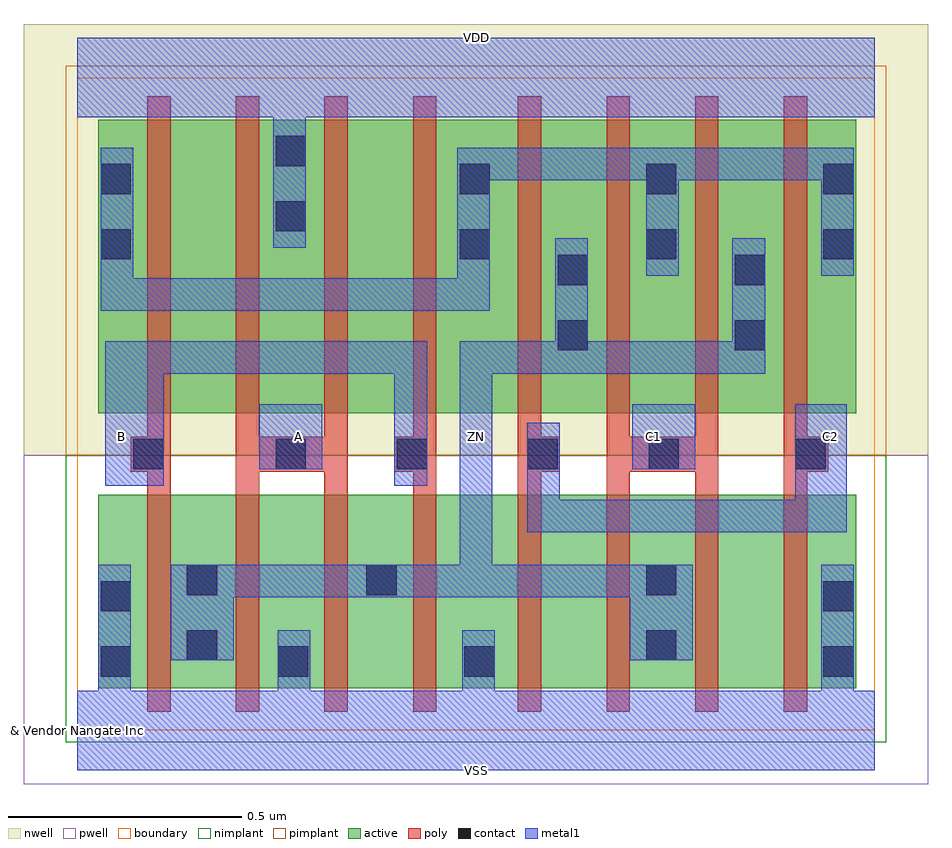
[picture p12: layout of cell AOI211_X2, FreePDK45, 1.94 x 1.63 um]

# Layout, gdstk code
import gdstk
lib = gdstk.Library(unit=1e-6, precision=1e-10)
def R(c, l, rs):  # rectangles x0, y0, x1, y1
    for r in rs: c.add(gdstk.rectangle(r[:2], r[2:], *l))
def P(c, l, *ps):  # polygons
    for p in ps: c.add(gdstk.Polygon(p, *l))
active = (1, 0)
pwell = (2, 0)
nwell = (3, 0)
nimplant = (4, 0)
pimplant = (5, 0)
poly = (9, 0)
contact = (10, 0)
metal1 = (11, 0)
boundary = (235, 0)

aoi211_x2 = lib.new_cell('AOI211_X2')
R(aoi211_x2, active, [(0.045,0.09,1.67,0.505), (0.045,0.68,1.67,1.31)])
R(aoi211_x2, pwell, [(-0.115,-0.115,1.825,0.59)])
R(aoi211_x2, nwell, [(-0.115,0.59,1.825,1.515)])
R(aoi211_x2, nimplant, [(-0.025,-0.025,1.735,0.59)])
R(aoi211_x2, pimplant, [(-0.025,0.59,1.735,1.425)])
P(aoi211_x2, poly, [(0.115,0.555),(0.15,0.555),(0.15,0.04),(0.2,0.04),(0.2,1.36),(0.15,1.36),(0.15,0.63),(0.115,0.63)],
  [(0.34,0.04),(0.39,0.04),(0.39,0.555),(0.53,0.555),(0.53,0.04),(0.58,0.04),(0.58,1.36),(0.53,1.36),(0.53,0.63),(0.39,0.63),(0.39,1.36),(0.34,1.36)],
  [(0.68,0.555),(0.72,0.555),(0.72,0.04),(0.77,0.04),(0.77,1.36),(0.72,1.36),(0.72,0.63),(0.68,0.63)],
  [(0.945,0.04),(0.995,0.04),(0.995,0.555),(1.035,0.555),(1.035,0.63),(0.995,0.63),(0.995,1.36),(0.945,1.36)],
  [(1.135,0.04),(1.185,0.04),(1.185,0.555),(1.325,0.555),(1.325,0.04),(1.375,0.04),(1.375,1.36),(1.325,1.36),(1.325,0.63),(1.185,0.63),(1.185,1.36),(1.135,1.36)],
  [(1.515,0.04),(1.565,0.04),(1.565,0.555),(1.61,0.555),(1.61,0.63),(1.565,0.63),(1.565,1.36),(1.515,1.36)])
R(aoi211_x2, contact, [(0.05,0.115,0.115,0.18), (0.43,0.115,0.495,0.18), (0.83,0.115,0.895,0.18), (1.6,0.115,1.665,0.18), (0.235,0.15,0.3,0.215), (1.22,0.15,1.285,0.215), (0.05,0.255,0.115,0.32), (1.6,0.255,1.665,0.32), (0.235,0.29,0.3,0.355), (0.62,0.29,0.685,0.355), (1.22,0.29,1.285,0.355), (0.12,0.56,0.185,0.625), (0.425,0.56,0.49,0.625), (0.685,0.56,0.75,0.625), (0.965,0.56,1.03,0.625), (1.225,0.56,1.29,0.625), (1.54,0.56,1.605,0.625), (1.03,0.815,1.095,0.88), (1.41,0.815,1.475,0.88), (1.03,0.955,1.095,1.02), (1.41,0.955,1.475,1.02), (0.05,1.01,0.115,1.075), (0.82,1.01,0.885,1.075), (1.22,1.01,1.285,1.075), (1.6,1.01,1.665,1.075), (0.425,1.07,0.49,1.135), (0.05,1.15,0.115,1.215), (0.82,1.15,0.885,1.215), (1.22,1.15,1.285,1.215), (1.6,1.15,1.665,1.215), (0.425,1.21,0.49,1.275)])
R(aoi211_x2, metal1, [(0.39,0.56,0.525,0.7), (1.19,0.56,1.325,0.7)])
P(aoi211_x2, metal1, [(0.06,0.525),(0.185,0.525),(0.185,0.765),(0.68,0.765),(0.68,0.525),(0.75,0.525),(0.75,0.835),(0.06,0.835)],
  [(0.89,0.765),(1.475,0.765),(1.475,1.055),(1.405,1.055),(1.405,0.835),(1.095,0.835),(1.095,1.055),(1.025,1.055),(1.025,0.835),(0.82,0.835),(0.82,0.355),(0.2,0.355),(0.2,0.15),(0.335,0.15),(0.335,0.285),(1.185,0.285),(1.185,0.15),(1.32,0.15),(1.32,0.355),(0.89,0.355)],
  [(0.965,0.425),(1.65,0.425),(1.65,0.7),(1.54,0.7),(1.54,0.495),(1.035,0.495),(1.035,0.66),(0.965,0.66)],
  [(0.05,0.9),(0.885,0.9),(0.885,1.18),(1.22,1.18),(1.22,0.975),(1.29,0.975),(1.29,1.18),(1.595,1.18),(1.595,0.975),(1.665,0.975),(1.665,1.25),(0.815,1.25),(0.815,0.97),(0.12,0.97),(0.12,1.25),(0.05,1.25)],
  [(0,-0.085),(1.71,-0.085),(1.71,0.085),(1.665,0.085),(1.665,0.355),(1.595,0.355),(1.595,0.085),(0.895,0.085),(0.895,0.215),(0.825,0.215),(0.825,0.085),(0.5,0.085),(0.5,0.215),(0.43,0.215),(0.43,0.085),(0.115,0.085),(0.115,0.355),(0.045,0.355),(0.045,0.085),(0,0.085)],
  [(0,1.315),(0.42,1.315),(0.42,1.035),(0.49,1.035),(0.49,1.315),(1.71,1.315),(1.71,1.485),(0,1.485)])
R(aoi211_x2, boundary, [(0,0,1.71,1.4)])
aoi211_x2.add(gdstk.Label('A', (0.475,0.63), layer=11, texttype=0))
aoi211_x2.add(gdstk.Label('B', (0.095,0.63), layer=11, texttype=0))
aoi211_x2.add(gdstk.Label('C1', (1.235,0.63), layer=11, texttype=0))
aoi211_x2.add(gdstk.Label('C2', (1.615,0.63), layer=11, texttype=0))
aoi211_x2.add(gdstk.Label('VDD', (0.855,1.485), layer=11, texttype=0))
aoi211_x2.add(gdstk.Label('VSS', (0.855,-0.085), layer=11, texttype=0))
aoi211_x2.add(gdstk.Label('ZN', (0.855,0.63), layer=11, texttype=0))
aoi211_x2.add(gdstk.Label('& Vendor Nangate Inc', (0,0), layer=63, texttype=63))
aoi211_x2.add(gdstk.Label('& Product Open Cell Library', (0,0), layer=63, texttype=63))
aoi211_x2.add(gdstk.Label('& Version 2010_12', (0,0), layer=63, texttype=63))
aoi211_x2.add(gdstk.Label('& Instance AOI211_X2', (0,0), layer=63, texttype=63))

lib.write_gds('AOI211_X2.gds')
